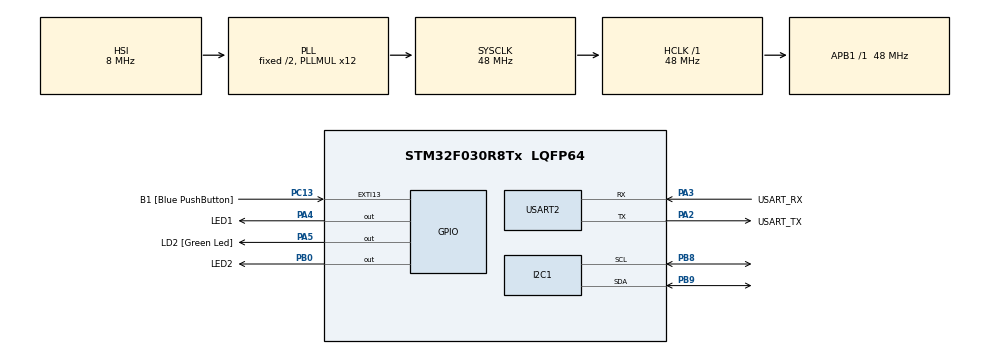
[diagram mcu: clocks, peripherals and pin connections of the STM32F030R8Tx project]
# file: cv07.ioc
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FREERTOS.Queues01=xVisualQueue,16,uint16_t,0,Dynamic,NULL,NULL
FREERTOS.Tasks01=defaultTask,0,128,StartDefaultTask,Default,NULL,Dynamic,NULL,NULL;VisualTask,0,128,StartVisualTask,Default,NULL,Dynamic,NULL,NULL;AcceleroTask,0,128,StartAcceleroTask,Default,NULL,Dynamic,NULL,NULL
FREERTOS.configUSE_NEWLIB_REENTRANT=1
Mcu.Family=STM32F0
Mcu.Name=STM32F030R8Tx
Mcu.Package=LQFP64
NVIC.TIM14_IRQn=true\:3\:0\:false\:false\:true\:false\:false\:true
NVIC.TimeBase=TIM14_IRQn
NVIC.TimeBaseIP=TIM14
PA13.GPIO_Label=TMS
PA13.Mode=Serial_Wire
PA13.Signal=SYS_SWDIO
PA14.GPIO_Label=TCK
PA14.Mode=Serial_Wire
PA14.Signal=SYS_SWCLK
PA2.GPIO_Label=USART_TX
PA2.GPIO_Mode=GPIO_MODE_AF_PP
PA2.GPIO_PuPd=GPIO_NOPULL
PA2.GPIO_Speed=GPIO_SPEED_FREQ_LOW
PA2.Mode=Asynchronous
PA2.Signal=USART2_TX
PA3.GPIO_Label=USART_RX
PA3.GPIO_Mode=GPIO_MODE_AF_PP
PA3.GPIO_PuPd=GPIO_NOPULL
PA3.GPIO_Speed=GPIO_SPEED_FREQ_LOW
PA3.Mode=Asynchronous
PA3.Signal=USART2_RX
PA4.GPIO_Label=LED1
PA4.GPIO_PuPd=GPIO_NOPULL
PA4.Signal=GPIO_Output
PA5.GPIO_Label=LD2 [Green Led]
PA5.GPIO_Mode=GPIO_MODE_OUTPUT_PP
PA5.GPIO_PuPd=GPIO_NOPULL
PA5.GPIO_Speed=GPIO_SPEED_FREQ_LOW
PA5.Signal=GPIO_Output
PB0.GPIO_Label=LED2
PB0.GPIO_ModeDefaultOutputPP=GPIO_MODE_OUTPUT_PP
PB0.GPIO_PuPd=GPIO_NOPULL
PB0.Signal=GPIO_Output
PB8.Mode=I2C
PB8.Signal=I2C1_SCL
PB9.Mode=I2C
PB9.Signal=I2C1_SDA
PC13.GPIO_Label=B1 [Blue PushButton]
PC13.GPIO_ModeDefaultEXTI=GPIO_MODE_IT_FALLING
PC13.Signal=GPXTI13
PC14-OSC32_IN.Mode=LSE-External-Oscillator
PC14-OSC32_IN.Signal=RCC_OSC32_IN
PC15-OSC32_OUT.Mode=LSE-External-Oscillator
PC15-OSC32_OUT.Signal=RCC_OSC32_OUT
PF0-OSC_IN.Mode=HSE-External-Clock-Source
PF0-OSC_IN.Signal=RCC_OSC_IN
PF1-OSC_OUT.Signal=RCC_OSC_OUT
ProjectManager.HeapSize=0x200
ProjectManager.StackSize=0x400
ProjectManager.TargetToolchain=STM32CubeIDE
RCC.AHBFreq_Value=48000000
RCC.APB1Freq_Value=48000000
RCC.APB1TimFreq_Value=48000000
RCC.HCLKFreq_Value=48000000
RCC.PLLMUL=RCC_PLL_MUL12
RCC.SYSCLKFreq_VALUE=48000000
RCC.SYSCLKSource=RCC_SYSCLKSOURCE_PLLCLK
USART2.VirtualMode-Asynchronous=VM_ASYNC
VP_FREERTOS_VS_CMSIS_V1.Mode=CMSIS_V1
VP_SYS_VS_tim14.Mode=TIM14
board=NUCLEO-F030R8

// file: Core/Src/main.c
/* USER CODE BEGIN Header */
/**
  ******************************************************************************
  * @file           : main.c
  * @brief          : Main program body
  ******************************************************************************
  * @attention
  *
  * <h2><center>&copy; Copyright (c) 2021 STMicroelectronics.
  * All rights reserved.</center></h2>
  *
  * This software component is licensed by ST under BSD 3-Clause license,
  * the "License"; You may not use this file except in compliance with the
  * License. You may obtain a copy of the License at:
  *                        opensource.org/licenses/BSD-3-Clause
  *
  ******************************************************************************
  */
/* USER CODE END Header */
#include "main.h"
#include "cmsis_os.h"

/* USER CODE BEGIN Includes */
#include "lis2dw12_reg.h"
#include "stdio.h"
/* USER CODE END Includes */

I2C_HandleTypeDef hi2c1;

UART_HandleTypeDef huart2;

osThreadId defaultTaskHandle;
osThreadId VisualTaskHandle;
osThreadId AcceleroTaskHandle;
osMessageQId xVisualQueueHandle;
/* USER CODE BEGIN PV */

static int32_t platform_write(void *handle, uint8_t reg, uint8_t *bufp, uint16_t len);
static int32_t platform_read(void *handle, uint8_t reg, uint8_t *bufp, uint16_t len);
static stmdev_ctx_t lis2dw12 =
	{
	 .write_reg = platform_write,
	 .read_reg = platform_read,
	 .handle = &hi2c1,
	};

static int32_t platform_write(void *handle, uint8_t reg, uint8_t *bufp, uint16_t len)
{
 HAL_I2C_Mem_Write(handle, LIS2DW12_I2C_ADD_H, reg, I2C_MEMADD_SIZE_8BIT, bufp, len, 1000);
 return 0;
}

static int32_t platform_read(void *handle, uint8_t reg, uint8_t *bufp, uint16_t len)
{
 HAL_I2C_Mem_Read(handle, LIS2DW12_I2C_ADD_H, reg, I2C_MEMADD_SIZE_8BIT, bufp, len, 1000);
 return 0;
}

/* printf*/
int _write(int file, char const *buf, int n)
{

 HAL_UART_Transmit(&huart2, (uint8_t*)(buf), n, HAL_MAX_DELAY);
 return n;
}

/* USER CODE END PV */

void SystemClock_Config(void);
static void MX_GPIO_Init(void);
static void MX_USART2_UART_Init(void);
static void MX_I2C1_Init(void);
void StartDefaultTask(void const * argument);
void StartVisualTask(void const * argument);
void StartAcceleroTask(void const * argument);

int main(void)
{

  /* MCU Configuration--------------------------------------------------------*/

  /* Reset of all peripherals, Initializes the Flash interface and the Systick. */
  HAL_Init();

  /* Configure the system clock */
  SystemClock_Config();

  /* Initialize all configured peripherals */
  MX_GPIO_Init();
  MX_USART2_UART_Init();
  MX_I2C1_Init();

  /* Create the queue(s) */
  /* definition and creation of xVisualQueue */
  osMessageQDef(xVisualQueue, 16, uint16_t);
  xVisualQueueHandle = osMessageCreate(osMessageQ(xVisualQueue), NULL);

  /* Create the thread(s) */
  /* definition and creation of defaultTask */
  osThreadDef(defaultTask, StartDefaultTask, osPriorityNormal, 0, 128);
  defaultTaskHandle = osThreadCreate(osThread(defaultTask), NULL);

  /* definition and creation of VisualTask */
  osThreadDef(VisualTask, StartVisualTask, osPriorityNormal, 0, 128);
  VisualTaskHandle = osThreadCreate(osThread(VisualTask), NULL);

  /* definition and creation of AcceleroTask */
  osThreadDef(AcceleroTask, StartAcceleroTask, osPriorityNormal, 0, 128);
  AcceleroTaskHandle = osThreadCreate(osThread(AcceleroTask), NULL);

  /* Start scheduler */
  osKernelStart();

  /* We should never get here as control is now taken by the scheduler */
  /* Infinite loop */
  while (1)
  {

  }
}

void SystemClock_Config(void)
{
  RCC_OscInitTypeDef RCC_OscInitStruct = {0};
  RCC_ClkInitTypeDef RCC_ClkInitStruct = {0};
  RCC_PeriphCLKInitTypeDef PeriphClkInit = {0};

  /** Initializes the RCC Oscillators according to the specified parameters
  * in the RCC_OscInitTypeDef structure.
  */
  RCC_OscInitStruct.OscillatorType = RCC_OSCILLATORTYPE_HSI;
  RCC_OscInitStruct.HSIState = RCC_HSI_ON;
  RCC_OscInitStruct.HSICalibrationValue = RCC_HSICALIBRATION_DEFAULT;
  RCC_OscInitStruct.PLL.PLLState = RCC_PLL_ON;
  RCC_OscInitStruct.PLL.PLLSource = RCC_PLLSOURCE_HSI;
  RCC_OscInitStruct.PLL.PLLMUL = RCC_PLL_MUL12;
  RCC_OscInitStruct.PLL.PREDIV = RCC_PREDIV_DIV1;
  if (HAL_RCC_OscConfig(&RCC_OscInitStruct) != HAL_OK)
  {
    Error_Handler();
  }
  /** Initializes the CPU, AHB and APB buses clocks
  */
  RCC_ClkInitStruct.ClockType = RCC_CLOCKTYPE_HCLK|RCC_CLOCKTYPE_SYSCLK
                              |RCC_CLOCKTYPE_PCLK1;
  RCC_ClkInitStruct.SYSCLKSource = RCC_SYSCLKSOURCE_PLLCLK;
  RCC_ClkInitStruct.AHBCLKDivider = RCC_SYSCLK_DIV1;
  RCC_ClkInitStruct.APB1CLKDivider = RCC_HCLK_DIV1;

  if (HAL_RCC_ClockConfig(&RCC_ClkInitStruct, FLASH_LATENCY_1) != HAL_OK)
  {
    Error_Handler();
  }
  PeriphClkInit.PeriphClockSelection = RCC_PERIPHCLK_I2C1;
  PeriphClkInit.I2c1ClockSelection = RCC_I2C1CLKSOURCE_HSI;
  if (HAL_RCCEx_PeriphCLKConfig(&PeriphClkInit) != HAL_OK)
  {
    Error_Handler();
  }
}

static void MX_I2C1_Init(void)
{

  hi2c1.Instance = I2C1;
  hi2c1.Init.Timing = 0x2000090E;
  hi2c1.Init.OwnAddress1 = 0;
  hi2c1.Init.AddressingMode = I2C_ADDRESSINGMODE_7BIT;
  hi2c1.Init.DualAddressMode = I2C_DUALADDRESS_DISABLE;
  hi2c1.Init.OwnAddress2 = 0;
  hi2c1.Init.OwnAddress2Masks = I2C_OA2_NOMASK;
  hi2c1.Init.GeneralCallMode = I2C_GENERALCALL_DISABLE;
  hi2c1.Init.NoStretchMode = I2C_NOSTRETCH_DISABLE;
  if (HAL_I2C_Init(&hi2c1) != HAL_OK)
  {
    Error_Handler();
  }
  /** Configure Analogue filter
  */
  if (HAL_I2CEx_ConfigAnalogFilter(&hi2c1, I2C_ANALOGFILTER_ENABLE) != HAL_OK)
  {
    Error_Handler();
  }
  /** Configure Digital filter
  */
  if (HAL_I2CEx_ConfigDigitalFilter(&hi2c1, 0) != HAL_OK)
  {
    Error_Handler();
  }

}

static void MX_USART2_UART_Init(void)
{

  huart2.Instance = USART2;
  huart2.Init.BaudRate = 38400;
  huart2.Init.WordLength = UART_WORDLENGTH_8B;
  huart2.Init.StopBits = UART_STOPBITS_1;
  huart2.Init.Parity = UART_PARITY_NONE;
  huart2.Init.Mode = UART_MODE_TX_RX;
  huart2.Init.HwFlowCtl = UART_HWCONTROL_NONE;
  huart2.Init.OverSampling = UART_OVERSAMPLING_16;
  huart2.Init.OneBitSampling = UART_ONE_BIT_SAMPLE_DISABLE;
  huart2.AdvancedInit.AdvFeatureInit = UART_ADVFEATURE_NO_INIT;
  if (HAL_UART_Init(&huart2) != HAL_OK)
  {
    Error_Handler();
  }

}

static void MX_GPIO_Init(void)
{
  GPIO_InitTypeDef GPIO_InitStruct = {0};

  /* GPIO Ports Clock Enable */
  __HAL_RCC_GPIOC_CLK_ENABLE();
  __HAL_RCC_GPIOF_CLK_ENABLE();
  __HAL_RCC_GPIOA_CLK_ENABLE();
  __HAL_RCC_GPIOB_CLK_ENABLE();

  /*Configure GPIO pin Output Level */
  HAL_GPIO_WritePin(GPIOA, LED1_Pin|LD2_Pin, GPIO_PIN_RESET);

  /*Configure GPIO pin Output Level */
  HAL_GPIO_WritePin(LED2_GPIO_Port, LED2_Pin, GPIO_PIN_RESET);

  /*Configure GPIO pin : B1_Pin */
  GPIO_InitStruct.Pin = B1_Pin;
  GPIO_InitStruct.Mode = GPIO_MODE_IT_FALLING;
  GPIO_InitStruct.Pull = GPIO_NOPULL;
  HAL_GPIO_Init(B1_GPIO_Port, &GPIO_InitStruct);

  /*Configure GPIO pins : LED1_Pin LD2_Pin */
  GPIO_InitStruct.Pin = LED1_Pin|LD2_Pin;
  GPIO_InitStruct.Mode = GPIO_MODE_OUTPUT_PP;
  GPIO_InitStruct.Pull = GPIO_NOPULL;
  GPIO_InitStruct.Speed = GPIO_SPEED_FREQ_LOW;
  HAL_GPIO_Init(GPIOA, &GPIO_InitStruct);

  /*Configure GPIO pin : LED2_Pin */
  GPIO_InitStruct.Pin = LED2_Pin;
  GPIO_InitStruct.Mode = GPIO_MODE_OUTPUT_PP;
  GPIO_InitStruct.Pull = GPIO_NOPULL;
  GPIO_InitStruct.Speed = GPIO_SPEED_FREQ_LOW;
  HAL_GPIO_Init(LED2_GPIO_Port, &GPIO_InitStruct);

}

void StartDefaultTask(void const * argument)
{
  for(;;)
  {
    osDelay(1);
  }
}

void StartVisualTask(void const * argument)
{
  /* USER CODE BEGIN StartVisualTask */
  /* Infinite loop */
  for(;;)
  {
	  int16_t msg;
	        if (xQueueReceive(xVisualQueueHandle, &msg, portMAX_DELAY)) {
	      	  if (msg<-1000)
	      	  		  {
	      	  			  HAL_GPIO_WritePin(LED2_GPIO_Port, LED2_Pin, GPIO_PIN_RESET);
	      	  			  HAL_GPIO_WritePin(LED1_GPIO_Port, LED1_Pin, GPIO_PIN_SET);
	      	  		  }
	      	  		  else if (msg>1000)
	      	  		  {
	      	  			  HAL_GPIO_WritePin(LED1_GPIO_Port, LED1_Pin, GPIO_PIN_RESET);
	      	  			  HAL_GPIO_WritePin(LED2_GPIO_Port, LED2_Pin, GPIO_PIN_SET);
	      	  		  }
	      	  		  else
	      	  		  {
	      	  			  HAL_GPIO_WritePin(LED1_GPIO_Port, LED1_Pin, GPIO_PIN_RESET);
	      	  			  HAL_GPIO_WritePin(LED2_GPIO_Port, LED2_Pin, GPIO_PIN_RESET);
	      	  		  }
	        }
    //osDelay(1);
  }
  /* USER CODE END StartVisualTask */
}

void StartAcceleroTask(void const * argument)
{
  /* USER CODE BEGIN StartAcceleroTask */

		uint8_t whoamI = 0;
		uint8_t samples;
		int16_t raw_acceleration[3];

		lis2dw12_full_scale_set(&lis2dw12, LIS2DW12_2g);
		lis2dw12_power_mode_set(&lis2dw12, LIS2DW12_CONT_LOW_PWR_LOW_NOISE_2);
		lis2dw12_block_data_update_set(&lis2dw12, PROPERTY_ENABLE);
		lis2dw12_fifo_mode_set(&lis2dw12, LIS2DW12_STREAM_MODE); // enable continuous FIFO
		lis2dw12_data_rate_set(&lis2dw12, LIS2DW12_XL_ODR_25Hz); // enable part from power-down

		lis2dw12_device_id_get(&lis2dw12, &whoamI);
		printf("LIS2DW12_ID %s\n", (whoamI == LIS2DW12_ID) ? "OK" : "FAIL");
  /* Infinite loop */
  for(;;)
  {
	  static uint32_t last_time;

	  	  lis2dw12_fifo_data_level_get(&lis2dw12, &samples);
	  	  for (uint8_t i = 0; i < samples; i++)
	  	  {
	  		  lis2dw12_acceleration_raw_get(&lis2dw12, raw_acceleration);

	  		  if (HAL_GetTick()-last_time >= 1000)
	  		  {
	  			  printf("X=%d Y=%d Z=%d\n", raw_acceleration[0], raw_acceleration[1], raw_acceleration[2]);
	  			  last_time = HAL_GetTick();
	  		  }
	  	  }

	  	  xQueueSend(xVisualQueueHandle, &raw_acceleration[0], 0);
	  	  osDelay(50);

  }
  /* USER CODE END StartAcceleroTask */
}

void HAL_TIM_PeriodElapsedCallback(TIM_HandleTypeDef *htim)
{
  if (htim->Instance == TIM14) {
    HAL_IncTick();
  }
}

void Error_Handler(void)
{
  __disable_irq();
  while (1)
  {
  }
}

/************************ (C) COPYRIGHT STMicroelectronics *****END OF FILE****/
